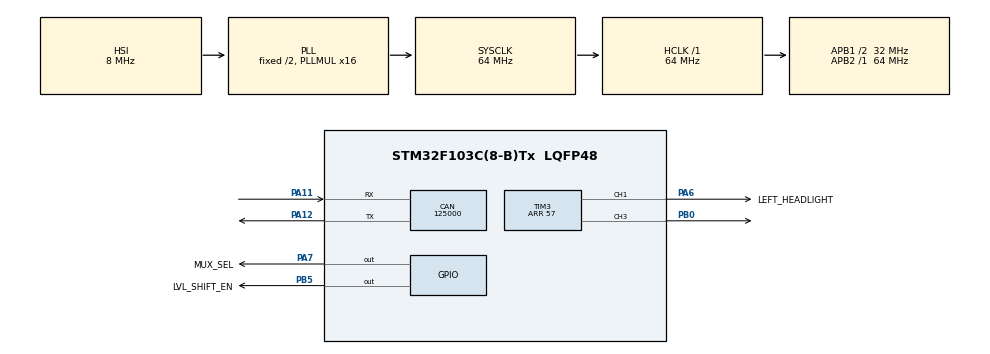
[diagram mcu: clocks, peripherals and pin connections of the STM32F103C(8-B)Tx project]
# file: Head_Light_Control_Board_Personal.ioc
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CAN.BS1=CAN_BS1_13TQ
CAN.BS2=CAN_BS2_2TQ
CAN.CalculateBaudRate=125000
CAN.CalculateTimeBit=8000
CAN.CalculateTimeQuantum=500.0
Dma.Request0=TIM3_CH1/TRIG
Dma.Request1=TIM3_CH3
Dma.TIM3_CH1/TRIG.0.Direction=DMA_MEMORY_TO_PERIPH
Dma.TIM3_CH1/TRIG.0.Instance=DMA1_Channel6
Dma.TIM3_CH1/TRIG.0.MemDataAlignment=DMA_MDATAALIGN_WORD
Dma.TIM3_CH1/TRIG.0.MemInc=DMA_MINC_ENABLE
Dma.TIM3_CH1/TRIG.0.Mode=DMA_NORMAL
Dma.TIM3_CH1/TRIG.0.PeriphDataAlignment=DMA_PDATAALIGN_WORD
Dma.TIM3_CH1/TRIG.0.PeriphInc=DMA_PINC_DISABLE
Dma.TIM3_CH1/TRIG.0.Priority=DMA_PRIORITY_VERY_HIGH
Dma.TIM3_CH3.1.Direction=DMA_MEMORY_TO_PERIPH
Dma.TIM3_CH3.1.Instance=DMA1_Channel2
Dma.TIM3_CH3.1.MemDataAlignment=DMA_MDATAALIGN_WORD
Dma.TIM3_CH3.1.MemInc=DMA_MINC_ENABLE
Dma.TIM3_CH3.1.Mode=DMA_NORMAL
Dma.TIM3_CH3.1.PeriphDataAlignment=DMA_PDATAALIGN_WORD
Dma.TIM3_CH3.1.PeriphInc=DMA_PINC_DISABLE
Dma.TIM3_CH3.1.Priority=DMA_PRIORITY_VERY_HIGH
Mcu.Family=STM32F1
Mcu.Name=STM32F103C(8-B)Tx
Mcu.Package=LQFP48
NVIC.DMA1_Channel2_IRQn=true\:0\:0\:false\:false\:true\:false\:true\:true
NVIC.DMA1_Channel6_IRQn=true\:0\:0\:false\:false\:true\:false\:true\:true
NVIC.PriorityGroup=NVIC_PRIORITYGROUP_4
NVIC.USB_LP_CAN1_RX0_IRQn=true\:0\:0\:false\:false\:true\:true\:true\:true
PA11.Mode=CAN_Activate
PA11.Signal=CAN_RX
PA12.Mode=CAN_Activate
PA12.Signal=CAN_TX
PA13.Mode=Serial_Wire
PA13.Signal=SYS_JTMS-SWDIO
PA14.Mode=Serial_Wire
PA14.Signal=SYS_JTCK-SWCLK
PA6.GPIO_Label=LEFT_HEADLIGHT
PA6.Signal=S_TIM3_CH1
PA7.GPIO_Label=MUX_SEL
PA7.Signal=GPIO_Output
PB0.Signal=S_TIM3_CH3
PB5.GPIO_Label=LVL_SHIFT_EN
PB5.Signal=GPIO_Output
ProjectManager.HeapSize=0x200
ProjectManager.StackSize=0x400
ProjectManager.TargetToolchain=STM32CubeIDE
RCC.AHBFreq_Value=64000000
RCC.APB1CLKDivider=RCC_HCLK_DIV2
RCC.APB1Freq_Value=32000000
RCC.APB1TimFreq_Value=64000000
RCC.APB2Freq_Value=64000000
RCC.APB2TimFreq_Value=64000000
RCC.HCLKFreq_Value=64000000
RCC.PLLMUL=RCC_PLL_MUL16
RCC.SYSCLKFreq_VALUE=64000000
RCC.SYSCLKSource=RCC_SYSCLKSOURCE_PLLCLK
RCC.USBFreq_Value=64000000
SH.S_TIM3_CH1.0=TIM3_CH1,PWM Generation1 CH1
SH.S_TIM3_CH3.0=TIM3_CH3,PWM Generation3 CH3
TIM3.Channel-PWM\ Generation1\ CH1=TIM_CHANNEL_1
TIM3.Channel-PWM\ Generation3\ CH3=TIM_CHANNEL_3
TIM3.Period=57
board=custom

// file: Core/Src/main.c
/* USER CODE BEGIN Header */
/**
  ******************************************************************************
  * @file           : main.c
  * @brief          : Main program body
  ******************************************************************************
  * @attention
  *
  * Copyright (c) 2025 STMicroelectronics.
  * All rights reserved.
  *
  * This software is licensed under terms that can be found in the LICENSE file
  * in the root directory of this software component.
  * If no LICENSE file comes with this software, it is provided AS-IS.
  *
  ******************************************************************************
  */
/* USER CODE END Header */
#include "main.h"

/* USER CODE BEGIN Includes */
#include <limits.h>
/* USER CODE END Includes */

/* USER CODE BEGIN PTD */
// WS2812B (LED) Expects GRB
typedef union{
	struct{
		uint8_t b;
		uint8_t r;
		uint8_t g;
	}color;
	uint32_t data; // BRG and "data" share the same memory space. This allows us to access the pixel data with ease
}PixelRGB_t;
/* USER CODE END PTD */

/* USER CODE BEGIN PD */
//#define TESTING

#define NUM_PIXEL 76
#define CUT_OFF 44

#define DMABUF_LEN (NUM_PIXEL * 24) + 100
#define DASHLIGHT_ID 5

#define NEOPIXEL_ZERO 19
#define NEOPIXEL_ONE 38

const uint8_t OFF_COLOR[] = {0,0,0};
const uint8_t HEADLIGHT_COLOR[] = {255,255,255};
const uint8_t TURNSIG_COLOR[] = {255,20,0};

/* USER CODE END PD */

CAN_HandleTypeDef hcan;

TIM_HandleTypeDef htim3;
DMA_HandleTypeDef hdma_tim3_ch1_trig;
DMA_HandleTypeDef hdma_tim3_ch3;

/* USER CODE BEGIN PV */
CAN_RxHeaderTypeDef RxHeader; // Struct Used to Store CAN Message Received
uint8_t RxData[8];

/* USER CODE END PV */

void SystemClock_Config(void);
static void MX_GPIO_Init(void);
static void MX_DMA_Init(void);
static void MX_CAN_Init(void);
static void MX_TIM3_Init(void);
/* USER CODE BEGIN PFP */
void updateLight();
void updateDash(uint8_t blinkData_local); // Ensures when we return to function, we finish updating using the old value
void SetPixelColor(PixelRGB_t* p,const uint8_t color[]);
/* USER CODE END PFP */

/* USER CODE BEGIN 0 */
uint8_t datasentFlag; // datasentFlag = 2 means both DMA are available, 0 means none are available
uint8_t updateDashFlag;
PixelRGB_t Left_PixelData[NUM_PIXEL] = {0};
uint32_t left_dma_Buffer[DMABUF_LEN] = {0};

PixelRGB_t Right_PixelData[NUM_PIXEL] = {0};
uint32_t right_dma_Buffer[DMABUF_LEN] = {0};

uint8_t blinkData;
uint8_t prev_blinkData;
uint32_t* pBuff_Left; // Used to point to the dma_buffer to ease increment in size of words
uint32_t* pBuff_Right;
uint8_t LEFT_BLINK;
uint8_t LEFT_BLINK_FLAG;
uint8_t RIGHT_BLINK;
uint8_t RIGHT_BLINK_FLAG;

int counter = INT_MAX - 800;

void SetPixelColor(PixelRGB_t* p, const uint8_t color[]){
	(*p).color.r = color [0];
	(*p).color.g = color [1];
	(*p).color.b = color [2];
}

void HAL_CAN_RxFifo0MsgPendingCallback(CAN_HandleTypeDef *hcan){
	// Extract the LED status update bits
	HAL_CAN_GetRxMessage(hcan, CAN_RX_FIFO0, &RxHeader, RxData);
	if(datasentFlag & 0b00000011){
		if(RxHeader.StdId == DASHLIGHT_ID){
			// Dashboard Controls the HeadLights, and Blinking for the Headlights
			blinkData = RxData[0] & 0b00001011; // Mask out Hazard
			updateDashFlag = 1;
		}
	}
}
void HAL_TIM_PWM_PulseFinishedCallback(TIM_HandleTypeDef *htim){

  if( htim == &htim3){ // Check if address pointed to is the same as the address of htim3
	  // Note that TIM_Channel 3 corresponds to hdma[3], it's not zero-indexed (DMA)
	  // TIM channel are zero-indexed as stated in TIM_DMADelayPulseCplt 	   (TIM Status)
	  if(htim->hdma[1]->State ==  HAL_DMA_STATE_READY || htim->ChannelState[0] == HAL_TIM_CHANNEL_STATE_READY){
		  HAL_TIM_PWM_Stop_DMA(htim, TIM_CHANNEL_1);
		  datasentFlag |= 0b00000001;
	  }
	  if(htim->hdma[3]->State == HAL_DMA_STATE_READY || htim->ChannelState[2] == HAL_TIM_CHANNEL_STATE_READY){

		  HAL_TIM_PWM_Stop_DMA(htim, TIM_CHANNEL_3);
		  datasentFlag |= 0b00000010;

	  }
#ifdef TESTING
			uint32_t left_remaining;
			uint32_t right_remaining;
		  left_remaining = htim->hdma[1]->Instance->CNDTR;
		  right_remaining = htim->hdma[3]->Instance->CNDTR;
#endif

  }
}
void LightsInit(){ // Default LED Configuration
	datasentFlag = 0;
	for(int k = 0; k < NUM_PIXEL; k++){
		SetPixelColor(&Left_PixelData[k], OFF_COLOR);
		SetPixelColor(&Right_PixelData[k], OFF_COLOR);
	}
	updateLight();
}

void updateLight(){
	datasentFlag = 0;
	pBuff_Left = left_dma_Buffer;
	pBuff_Right = right_dma_Buffer;
	for(int i = 0; i< NUM_PIXEL; i++){
		for(int j = 23; j >= 0; j--){
			if((Left_PixelData[i].data>>j) & 0x01){
				*pBuff_Left = NEOPIXEL_ONE;
			}
			else{
				*pBuff_Left = NEOPIXEL_ZERO;
			}
			pBuff_Left++;

			if((Right_PixelData[i].data>>j) & 0x01){
				*pBuff_Right = NEOPIXEL_ONE;
			}
			else{
				*pBuff_Right = NEOPIXEL_ZERO;
			}
			pBuff_Right++;
		}
	}
	for(int z = 1; z <= 100; z++){
		left_dma_Buffer[DMABUF_LEN - z] = 0;
		right_dma_Buffer[DMABUF_LEN - z ] = 0; // Extra time for latch (50us?)
	}
	uint32_t PRIMASK_STATE =  __get_PRIMASK();// Store the Current State of the Interrupts in (PRIMASK)
//	// Note: CPSID i sets PRIMASK to 1 (disable) and CPSIE i clears PRIMASK to 0 (enables)
	__disable_irq(); // This is an Critical Section because we want to Ensure both DMA Start without interrupts in between
	HAL_TIM_PWM_Start_DMA(&htim3, TIM_CHANNEL_3, (uint32_t*)right_dma_Buffer, DMABUF_LEN);
	HAL_TIM_PWM_Start_DMA(&htim3, TIM_CHANNEL_1, (uint32_t*)left_dma_Buffer, DMABUF_LEN);
	__set_PRIMASK(PRIMASK_STATE);
}

void updateDash(uint8_t blinkData_local){
	if (blinkData_local == prev_blinkData) { // Case where toggle hazard, it will just return
		return;
	}
	// Blink + Left/Right can be On Concurrently
	datasentFlag = 0; // Prevent BlinkData from being overwrite while executing

	if(blinkData_local & 0b1000){
		for(int i = 0; i < CUT_OFF; i++){
			SetPixelColor(&Left_PixelData[i], HEADLIGHT_COLOR);
			SetPixelColor(&Right_PixelData[i], HEADLIGHT_COLOR);
		}
		//

	}else{
		for(int i = 0; i < CUT_OFF; i++){
			SetPixelColor(&Left_PixelData[i], OFF_COLOR);
			SetPixelColor(&Right_PixelData[i], OFF_COLOR);
		}
	}

	if((blinkData_local ^ prev_blinkData) & 0b1000){

	}
	if ((~blinkData_local & 0b0010) && (blinkData_local&0b0001)){ // If Left is off and Right Is on, ensure left blink is off
		for(int i = CUT_OFF; i < NUM_PIXEL; i++){
			SetPixelColor(&Left_PixelData[i], OFF_COLOR);
		}
		LEFT_BLINK = 0;
		LEFT_BLINK_FLAG = 0;
		RIGHT_BLINK = 1;
		RIGHT_BLINK_FLAG = 1;
			counter =  0;

	}
	else if((~blinkData_local & 0b0001) && (blinkData_local & 0b0010)){ // If Right is off and Left is On, ensure right blink is off

		for(int i = CUT_OFF; i < NUM_PIXEL; i++){
			SetPixelColor(&Right_PixelData[i], OFF_COLOR);
		}
		RIGHT_BLINK = 0;
		RIGHT_BLINK_FLAG = 0;
		LEFT_BLINK = 1;
		LEFT_BLINK_FLAG = 1;
		counter = 0;
	}

	else{ // Toggled all Off
//		 No Blinking
		for(int i = CUT_OFF; i < NUM_PIXEL; i++){
				SetPixelColor(&Right_PixelData[i], OFF_COLOR);
			}
		for(int j = CUT_OFF; j < NUM_PIXEL; j++){
			SetPixelColor(&Left_PixelData[j], OFF_COLOR);
		}
		LEFT_BLINK = 0;
		LEFT_BLINK_FLAG = 1; // Reset it to default
		RIGHT_BLINK = 0;
		RIGHT_BLINK_FLAG = 1; // Reset it to default
		counter =  INT_MAX - 800;

	}
	prev_blinkData = blinkData_local;
	updateLight();
}
/* USER CODE END 0 */

int main(void)
{

  /* MCU Configuration--------------------------------------------------------*/

  /* Reset of all peripherals, Initializes the Flash interface and the Systick. */
  HAL_Init();

  /* Configure the system clock */
  SystemClock_Config();

  /* Initialize all configured peripherals */
  MX_GPIO_Init();
  MX_DMA_Init();
  MX_CAN_Init();
  MX_TIM3_Init();
  /* USER CODE BEGIN 2 */
   HAL_GPIO_WritePin(LVL_SHIFT_EN_GPIO_Port, LVL_SHIFT_EN_Pin, GPIO_PIN_SET);
   HAL_GPIO_WritePin(MUX_SEL_GPIO_Port, MUX_SEL_Pin, GPIO_PIN_RESET); // 0 Select LED_A_5V to LED_A_OUTPUT rather than LED_B_5V
   datasentFlag = 0b00000011;
   updateDashFlag = 0;

   LEFT_BLINK = 0;
   LEFT_BLINK_FLAG = 1;
   RIGHT_BLINK = 0;
   RIGHT_BLINK_FLAG = 1;

   blinkData = 0b0000;
   prev_blinkData = 0b0000;
   LightsInit();

   HAL_CAN_Start(&hcan);
   // Triggers Interrupt whenever FIFO0 receive a new message
   HAL_CAN_ActivateNotification(&hcan, CAN_IT_RX_FIFO0_MSG_PENDING);
  /* USER CODE END 2 */

  /* Infinite loop */
  while (1)
  {

    /* USER CODE BEGIN 3 */
	  HAL_GPIO_WritePin(LVL_SHIFT_EN_GPIO_Port, LVL_SHIFT_EN_Pin, GPIO_PIN_SET); // Enable PWM Conversion Step Up from 3.3V to 5V
	  HAL_GPIO_WritePin(MUX_SEL_GPIO_Port, MUX_SEL_Pin, GPIO_PIN_RESET); // 0 Select LED_A_5V to LED_A_OUTPUT rather than LED_B_5V
	  if(counter + 800 <= HAL_GetTick()){
		  if(LEFT_BLINK){
			  if(LEFT_BLINK_FLAG){
				  for(int i = CUT_OFF; i < NUM_PIXEL; i++){
					  SetPixelColor(&Left_PixelData[i], TURNSIG_COLOR);
				  }
				  LEFT_BLINK_FLAG = 0;
			  }
			  else if(LEFT_BLINK_FLAG == 0){
				  for(int i = CUT_OFF; i < NUM_PIXEL; i++){
					  SetPixelColor(&Left_PixelData[i], OFF_COLOR);
				  }
				  LEFT_BLINK_FLAG = 1;
			  }
		  }
		  if(RIGHT_BLINK){
			  if(RIGHT_BLINK_FLAG){
				  for(int i = CUT_OFF; i < NUM_PIXEL; i++){
					  SetPixelColor(&Right_PixelData[i], TURNSIG_COLOR);
				  }
				  RIGHT_BLINK_FLAG = 0 ;
			  }
			  else if(RIGHT_BLINK_FLAG == 0){

				  for(int i = CUT_OFF; i < NUM_PIXEL; i++){
					  SetPixelColor(&Right_PixelData[i], OFF_COLOR);
				  }
				  RIGHT_BLINK_FLAG = 1;
			  }
		  }
		  counter = HAL_GetTick();
		  updateLight();
	  }

	  // Interrupt won't be faster than CPU execution since processing speed is way faster
	  if(updateDashFlag && datasentFlag == 0b0011){
		  updateDash(blinkData);
		  updateDashFlag = 0 ; // 0 means the latest dash data has been processed

	  }

  }
  /* USER CODE END 3 */
}

void SystemClock_Config(void)
{
  RCC_OscInitTypeDef RCC_OscInitStruct = {0};
  RCC_ClkInitTypeDef RCC_ClkInitStruct = {0};

  /** Initializes the RCC Oscillators according to the specified parameters
  * in the RCC_OscInitTypeDef structure.
  */
  RCC_OscInitStruct.OscillatorType = RCC_OSCILLATORTYPE_HSI;
  RCC_OscInitStruct.HSIState = RCC_HSI_ON;
  RCC_OscInitStruct.HSICalibrationValue = RCC_HSICALIBRATION_DEFAULT;
  RCC_OscInitStruct.PLL.PLLState = RCC_PLL_ON;
  RCC_OscInitStruct.PLL.PLLSource = RCC_PLLSOURCE_HSI_DIV2;
  RCC_OscInitStruct.PLL.PLLMUL = RCC_PLL_MUL16;
  if (HAL_RCC_OscConfig(&RCC_OscInitStruct) != HAL_OK)
  {
    Error_Handler();
  }

  /** Initializes the CPU, AHB and APB buses clocks
  */
  RCC_ClkInitStruct.ClockType = RCC_CLOCKTYPE_HCLK|RCC_CLOCKTYPE_SYSCLK
                              |RCC_CLOCKTYPE_PCLK1|RCC_CLOCKTYPE_PCLK2;
  RCC_ClkInitStruct.SYSCLKSource = RCC_SYSCLKSOURCE_PLLCLK;
  RCC_ClkInitStruct.AHBCLKDivider = RCC_SYSCLK_DIV1;
  RCC_ClkInitStruct.APB1CLKDivider = RCC_HCLK_DIV2;
  RCC_ClkInitStruct.APB2CLKDivider = RCC_HCLK_DIV1;

  if (HAL_RCC_ClockConfig(&RCC_ClkInitStruct, FLASH_LATENCY_2) != HAL_OK)
  {
    Error_Handler();
  }
}

static void MX_CAN_Init(void)
{

  hcan.Instance = CAN1;
  hcan.Init.Prescaler = 16;
  hcan.Init.Mode = CAN_MODE_NORMAL;
  hcan.Init.SyncJumpWidth = CAN_SJW_1TQ;
  hcan.Init.TimeSeg1 = CAN_BS1_13TQ;
  hcan.Init.TimeSeg2 = CAN_BS2_2TQ;
  hcan.Init.TimeTriggeredMode = DISABLE;
  hcan.Init.AutoBusOff = DISABLE;
  hcan.Init.AutoWakeUp = DISABLE;
  hcan.Init.AutoRetransmission = DISABLE;
  hcan.Init.ReceiveFifoLocked = DISABLE;
  hcan.Init.TransmitFifoPriority = DISABLE;
  if (HAL_CAN_Init(&hcan) != HAL_OK)
  {
    Error_Handler();
  }
  /* USER CODE BEGIN CAN_Init 2 */
  CAN_FilterTypeDef canfilterconfig;
  canfilterconfig.FilterActivation = CAN_FILTER_ENABLE;
  canfilterconfig.FilterBank = 0;
  canfilterconfig.FilterFIFOAssignment = CAN_RX_FIFO0;
  canfilterconfig.FilterIdHigh = DASHLIGHT_ID << 5; // CAN frame ID is 11 bit, but it's fetched as a 16 bit
  	  	  	  	  	  	  	  	  	  	  	  	  	// Actual CAN id is the fetched one right shifted by 5
  	  	  	  	  	  	  	  	  	  	  	  	  	// However, to accept it, we might create a filter that
  	  	  	  	  	  	  	  	  	  	  	  	  	// Matches the ID and shifts it left by 5 bits
  canfilterconfig.FilterIdLow = 0xFFFF;
  canfilterconfig.FilterMaskIdHigh = 0xFFFF;
  canfilterconfig.FilterMaskIdLow = 0xFFFF;
  canfilterconfig.FilterMode = CAN_FILTERMODE_IDLIST;
  canfilterconfig.FilterScale = CAN_FILTERSCALE_16BIT;
  canfilterconfig.SlaveStartFilterBank = 0;
  // Sets up the Filter Hardware
  HAL_CAN_ConfigFilter(&hcan, &canfilterconfig);
  /* USER CODE END CAN_Init 2 */

}

static void MX_TIM3_Init(void)
{

  TIM_MasterConfigTypeDef sMasterConfig = {0};
  TIM_OC_InitTypeDef sConfigOC = {0};

  htim3.Instance = TIM3;
  htim3.Init.Prescaler = 0;
  htim3.Init.CounterMode = TIM_COUNTERMODE_UP;
  htim3.Init.Period = 57;
  htim3.Init.ClockDivision = TIM_CLOCKDIVISION_DIV1;
  htim3.Init.AutoReloadPreload = TIM_AUTORELOAD_PRELOAD_DISABLE;
  if (HAL_TIM_PWM_Init(&htim3) != HAL_OK)
  {
    Error_Handler();
  }
  sMasterConfig.MasterOutputTrigger = TIM_TRGO_RESET;
  sMasterConfig.MasterSlaveMode = TIM_MASTERSLAVEMODE_DISABLE;
  if (HAL_TIMEx_MasterConfigSynchronization(&htim3, &sMasterConfig) != HAL_OK)
  {
    Error_Handler();
  }
  sConfigOC.OCMode = TIM_OCMODE_PWM1;
  sConfigOC.Pulse = 0;
  sConfigOC.OCPolarity = TIM_OCPOLARITY_HIGH;
  sConfigOC.OCFastMode = TIM_OCFAST_DISABLE;
  if (HAL_TIM_PWM_ConfigChannel(&htim3, &sConfigOC, TIM_CHANNEL_1) != HAL_OK)
  {
    Error_Handler();
  }
  if (HAL_TIM_PWM_ConfigChannel(&htim3, &sConfigOC, TIM_CHANNEL_3) != HAL_OK)
  {
    Error_Handler();
  }
  HAL_TIM_MspPostInit(&htim3);

}

static void MX_DMA_Init(void)
{

  /* DMA controller clock enable */
  __HAL_RCC_DMA1_CLK_ENABLE();

  /* DMA interrupt init */
  /* DMA1_Channel2_IRQn interrupt configuration */
  HAL_NVIC_SetPriority(DMA1_Channel2_IRQn, 0, 0);
  HAL_NVIC_EnableIRQ(DMA1_Channel2_IRQn);
  /* DMA1_Channel6_IRQn interrupt configuration */
  HAL_NVIC_SetPriority(DMA1_Channel6_IRQn, 0, 0);
  HAL_NVIC_EnableIRQ(DMA1_Channel6_IRQn);

}

static void MX_GPIO_Init(void)
{
  GPIO_InitTypeDef GPIO_InitStruct = {0};

  /* GPIO Ports Clock Enable */
  __HAL_RCC_GPIOA_CLK_ENABLE();
  __HAL_RCC_GPIOB_CLK_ENABLE();

  /*Configure GPIO pin Output Level */
  HAL_GPIO_WritePin(MUX_SEL_GPIO_Port, MUX_SEL_Pin, GPIO_PIN_RESET);

  /*Configure GPIO pin Output Level */
  HAL_GPIO_WritePin(LVL_SHIFT_EN_GPIO_Port, LVL_SHIFT_EN_Pin, GPIO_PIN_RESET);

  /*Configure GPIO pin : MUX_SEL_Pin */
  GPIO_InitStruct.Pin = MUX_SEL_Pin;
  GPIO_InitStruct.Mode = GPIO_MODE_OUTPUT_PP;
  GPIO_InitStruct.Pull = GPIO_NOPULL;
  GPIO_InitStruct.Speed = GPIO_SPEED_FREQ_LOW;
  HAL_GPIO_Init(MUX_SEL_GPIO_Port, &GPIO_InitStruct);

  /*Configure GPIO pin : LVL_SHIFT_EN_Pin */
  GPIO_InitStruct.Pin = LVL_SHIFT_EN_Pin;
  GPIO_InitStruct.Mode = GPIO_MODE_OUTPUT_PP;
  GPIO_InitStruct.Pull = GPIO_NOPULL;
  GPIO_InitStruct.Speed = GPIO_SPEED_FREQ_LOW;
  HAL_GPIO_Init(LVL_SHIFT_EN_GPIO_Port, &GPIO_InitStruct);

}

void Error_Handler(void)
{
  __disable_irq();
  while (1)
  {
  }
}
